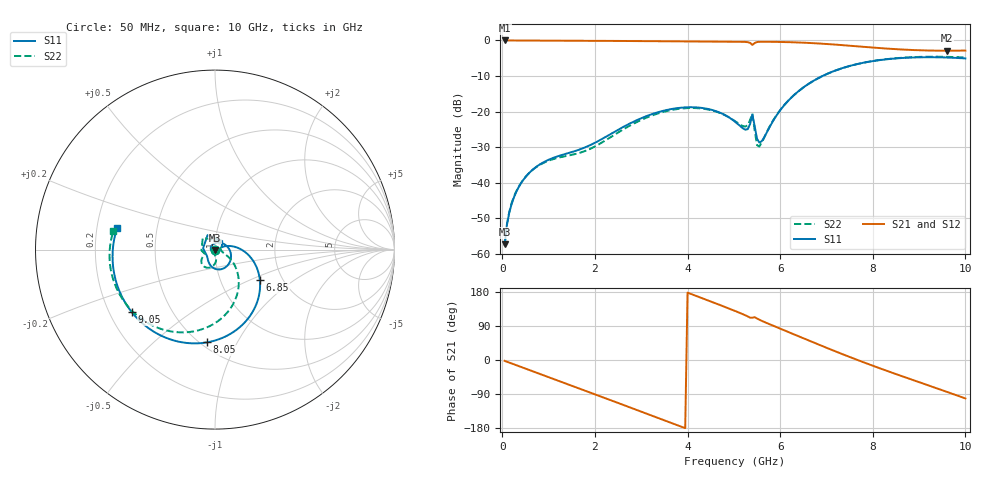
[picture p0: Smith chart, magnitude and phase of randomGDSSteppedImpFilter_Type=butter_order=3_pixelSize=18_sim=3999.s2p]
! freq	dB(S11)	phase(S11)	dB(S12)	phase(S12)
!  dB(S21)	phase(S21)	dB(S22)	phase(S22)
!S-par simulation data
#  GHz  S  DB  R 50
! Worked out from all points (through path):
!   200 points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, 50 MHz to 10 GHz, reference 50 ohm
!   highest |S21| = 0.00 dB at 50 MHz (marker M1); lowest = -2.9 dB at 9.6 GHz (marker M2)
!   group delay of S21, straight-line fit = 130 ps
!   lowest |S11| = -57.3 dB at 50 MHz (marker M3), VSWR 1.00, Z = 50 - j0.134 ohm
!   |S11| at or under -10 dB: start of sweep to 6.913 GHz
!   |S22| runs from -57.8 to -4.6 dB; largest |S21 - S12| = 0
!   S11 on the Smith chart (normalised r, x): 50 MHz: 1.00, -0.00; 6.85 GHz: 1.54, -0.57; 8.05 GHz: 0.54, -0.76; 9.05 GHz: 0.29, -0.31; 10 GHz: 0.29, +0.10
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0.05  -57.29 -79.6  -0.00 -2.3  -0.00 -2.3  -57.82 -76.9
0.1  -51.84 -89.6  -0.01 -4.6  -0.01 -4.6  -51.69 -84.6
0.2  -46.03 -101.0  -0.02 -9.1  -0.02 -9.1  -45.80 -90.3
0.5  -38.41 -126.0  -0.03 -22.7  -0.03 -22.7  -38.37 -100.0
1.75  -30.26 115.4  -0.09 -79.2  -0.09 -79.2  -31.26 -97.1
2.55  -24.75 33.9  -0.15 -115.6  -0.15 -115.6  -25.48 -83.3
3.4  -20.03 -26.7  -0.23 -154.6  -0.23 -154.6  -20.38 -99.6
4.2  -18.83 -73.3  -0.31 168.5  -0.31 168.5  -19.03 -125.4
5.05  -23.10 -123.9  -0.36 128.2  -0.36 128.2  -22.90 -152.0
5.3  -24.93 -162.2  -0.49 115.0  -0.49 115.0  -23.81 -162.6
5.4  -20.87 117.2  -1.25 111.5  -1.25 111.5  -20.53 136.5
5.5  -27.61 25.6  -0.45 109.5  -0.45 109.5  -29.41 24.4
5.55  -28.70 19.8  -0.39 106.3  -0.39 106.3  -29.83 0.5
6.05  -18.80 7.3  -0.44 80.3  -0.44 80.3  -18.75 -34.2
6.7  -11.49 -26.2  -0.75 47.3  -0.75 47.3  -11.52 -61.3
6.85  -10.41 -34.1  -0.86 39.8  -0.86 39.8  -10.44 -67.9
7.4  -7.54 -62.6  -1.37 12.8  -1.37 12.8  -7.56 -92.0
8.05  -5.70 -95.0  -2.05 -17.3  -2.05 -17.3  -5.68 -119.0
8.35  -5.22 -109.5  -2.33 -30.6  -2.33 -30.6  -5.18 -130.8
9.05  -4.73 -143.1  -2.78 -60.6  -2.78 -60.6  -4.61 -156.9
9.6  -4.80 -170.7  -2.89 -84.0  -2.89 -84.0  -4.60 -176.4
10  -5.06 167.6  -2.84 -101.5  -2.84 -101.5  -4.80 169.8
